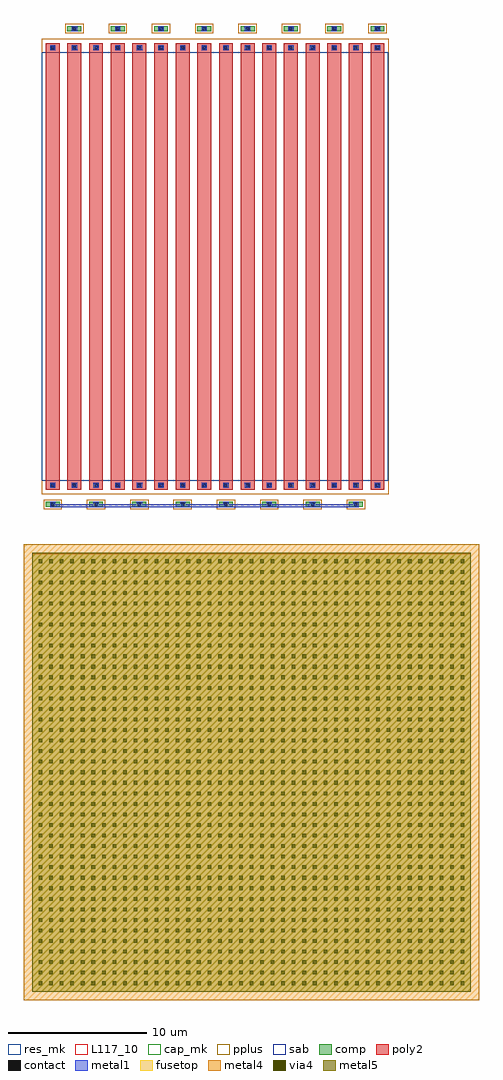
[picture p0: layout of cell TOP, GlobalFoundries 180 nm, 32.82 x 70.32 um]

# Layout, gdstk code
from math import pi, radians
import gdstk
lib = gdstk.Library(unit=1e-6, precision=1e-09)
def R(c, l, rs):  # rectangles x0, y0, x1, y1
    for r in rs: c.add(gdstk.rectangle(r[:2], r[2:], *l))
def A(c, l, x, y, w, h, nx, ny, dx, dy):  # array of equal rectangles
    R(c, l, [(x+i*dx, y+j*dy, x+i*dx+w, y+j*dy+h) for i in range(nx) for j in range(ny)])
def P(c, l, *ps):  # polygons
    for p in ps: c.add(gdstk.Polygon(p, *l))
comp = (22, 0)
poly2 = (30, 0)
pplus = (31, 0)
contact = (33, 0)
metal1 = (34, 0)
via4 = (41, 0)
metal4 = (46, 0)
sab = (49, 0)
fusetop = (75, 0)
metal5 = (81, 0)
res_mk = (110, 5)
cap_mk = (117, 5)
L117_10 = (117, 10)

ppolyf_u_resistor = lib.new_cell('ppolyf_u_resistor')
R(ppolyf_u_resistor, comp, [(-1.88,0,-1.52,1)])
R(ppolyf_u_resistor, poly2, [(-0.66,0,31.53,1)])
R(ppolyf_u_resistor, pplus, [(-0.96,-0.3,31.83,1.3), (-2.04,-0.16,-1.36,1.16)])
R(ppolyf_u_resistor, contact, [(-1.81,0.39,-1.59,0.61), (-0.44,0.39,-0.22,0.61), (31.09,0.39,31.31,0.61)])
R(ppolyf_u_resistor, metal1, [(-1.89,0.309,-1.51,0.691), (-0.52,0.309,-0.14,0.691), (31.01,0.309,31.39,0.691)])
R(ppolyf_u_resistor, sab, [(0,-0.28,30.87,1.28)])
R(ppolyf_u_resistor, res_mk, [(0,0,30.87,1)])

cap_mim = lib.new_cell('cap_mim')
A(cap_mim, via4, 0.48, 0.48, 0.26, 0.26, 41, 41, 0.76, 0.76)
R(cap_mim, metal4, [(-0.6,-0.6,32.22,32.22)])
R(cap_mim, fusetop, [(0,0,31.62,31.62)])
R(cap_mim, metal5, [(0,0,31.62,31.62)])
R(cap_mim, cap_mk, [(-0.6,-0.6,32.22,32.22)])
R(cap_mim, L117_10, [(0,0,31.62,0.1)])

ppolyf_u_resistor_3 = lib.new_cell('ppolyf_u_resistor$3')
R(ppolyf_u_resistor_3, comp, [(-1.88,0,-1.52,1)])
R(ppolyf_u_resistor_3, poly2, [(-0.66,0,31.53,1)])
R(ppolyf_u_resistor_3, pplus, [(-0.96,-0.3,31.83,1.3), (-2.04,-0.16,-1.36,1.16)])
R(ppolyf_u_resistor_3, contact, [(-1.81,0.39,-1.59,0.61), (-0.44,0.39,-0.22,0.61), (31.09,0.39,31.31,0.61)])
R(ppolyf_u_resistor_3, metal1, [(-1.89,0.309,-1.51,0.691), (-0.52,0.309,-0.14,0.691), (31.01,0.309,31.39,0.691)])
R(ppolyf_u_resistor_3, sab, [(0,-0.28,30.87,1.28)])
R(ppolyf_u_resistor_3, res_mk, [(0,0,30.87,1)])
ppolyf_u_resistor_3.add(gdstk.Label('0', (-0.33,0.5), layer=34, texttype=10))
ppolyf_u_resistor_3.add(gdstk.Label('1', (31.2,0.5), layer=34, texttype=10))
ppolyf_u_resistor_3.add(gdstk.Label('S', (-1.7,0.5), layer=34, texttype=10))

top = lib.new_cell('TOP')
P(top, metal1, [(24.501,35.87),(24.501,36.25),(24.501,36.25),(24.501,35.87)],
  [(20.999,35.87),(20.999,36.25),(20.999,36.25),(20.999,35.87)])
top.add(gdstk.FlexPath([(24.119,35.96),(2.38,35.96),(2.38,35.87)], 0.2, ends="flush", simple_path=True, layer=34, datatype=0))  # metal1
top.add(gdstk.Reference(ppolyf_u_resistor, (9.21,37.76), rotation=pi/2))
top.add(gdstk.Reference(cap_mim, (32.6,32.57), rotation=pi))
top.add(gdstk.Reference(ppolyf_u_resistor, (6.65,68.63), rotation=3*pi/2))
top.add(gdstk.Reference(ppolyf_u_resistor, (16.01,68.63), rotation=3*pi/2))
top.add(gdstk.Reference(ppolyf_u_resistor, (18.57,37.76), rotation=pi/2))
top.add(gdstk.Reference(ppolyf_u_resistor, (21.69,37.76), rotation=pi/2))
top.add(gdstk.Reference(ppolyf_u_resistor, (12.89,68.63), rotation=3*pi/2))
top.add(gdstk.Reference(ppolyf_u_resistor, (12.33,37.76), rotation=pi/2))
top.add(gdstk.Reference(ppolyf_u_resistor, (9.77,68.63), rotation=3*pi/2))
top.add(gdstk.Reference(ppolyf_u_resistor, (3.53,68.63), rotation=3*pi/2))
top.add(gdstk.Reference(ppolyf_u_resistor, (19.13,68.63), rotation=3*pi/2))
top.add(gdstk.Reference(ppolyf_u_resistor, (22.25,68.63), rotation=3*pi/2))
top.add(gdstk.Reference(ppolyf_u_resistor, (15.45,37.76), rotation=pi/2))
top.add(gdstk.Reference(ppolyf_u_resistor, (24.81,37.76), rotation=pi/2))
top.add(gdstk.Reference(ppolyf_u_resistor, (2.97,37.76), rotation=pi/2))
top.add(gdstk.Reference(ppolyf_u_resistor_3, (25.37,68.63), rotation=3*pi/2))
top.add(gdstk.Reference(ppolyf_u_resistor, (6.09,37.76), rotation=pi/2))

lib.write_gds('TOP.gds')
